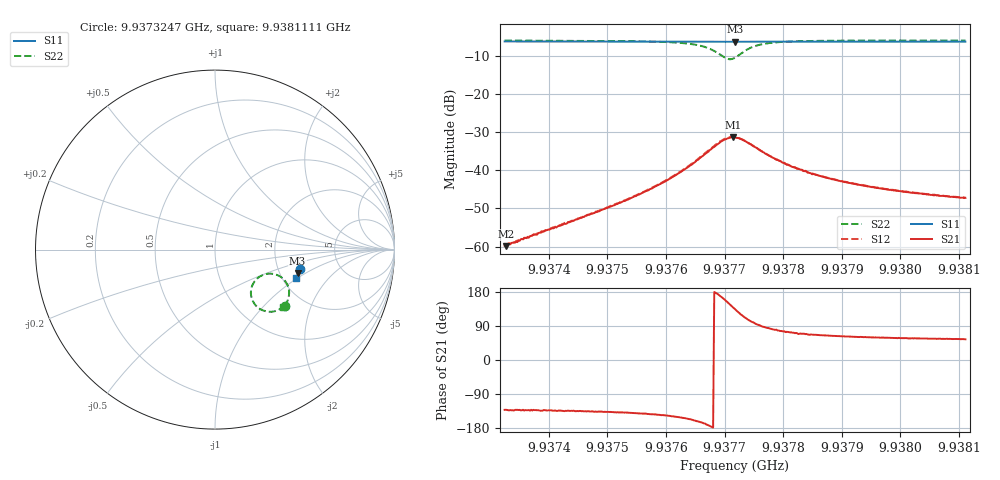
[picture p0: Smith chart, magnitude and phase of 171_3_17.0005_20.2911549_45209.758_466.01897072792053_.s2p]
#  HZ  S  RI  R  50.00
! Rohde & Schwarz Vector Network Analyzer
! Rohde-Schwarz,ZNB20-2Port,1311601062101988,3.16
! Created: UTC 3/20/2024, 10:59:46 PM
! freq[Hz]  re:S11  im:S11  re:S21  im:S21  re:S12  im:S12  re:S22  im:S22
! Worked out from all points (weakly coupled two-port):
!   401 points, 9.9373247 GHz to 9.9381111 GHz, reference 50 ohm
!   highest |S21| = -31.41 dB at 9.937714 GHz (marker M1); lowest = -59.9 dB at 9.9373267 GHz (marker M2)
!   lowest |S11| = -6.4 dB at 9.9377179 GHz (marker M3), VSWR 2.84, Z = 125 - j42.7 ohm
!   |S11| at or under -10 dB: nowhere
!   |S22| runs from -11.0 to -6.0 dB; largest |S21 - S12| = 0.0011
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9.93732472e9  0.4712 -0.1082  -0.000681 -0.000769  -0.000688 -0.00077  0.3872 -0.3124
9.93732669e9  0.4711 -0.1082  -0.000668 -0.00076  -0.000688 -0.000784  0.3871 -0.3125
9.93745644e9  0.4683 -0.1171  -0.00169 -0.00168  -0.00173 -0.00167  0.3719 -0.3252
9.93753311e9  0.4666 -0.1222  -0.00308 -0.0027  -0.00316 -0.00265  0.3557 -0.3348
9.93758816e9  0.4652 -0.1261  -0.00527 -0.00373  -0.00544 -0.00371  0.3341 -0.3431
9.93762944e9  0.4639 -0.1289  -0.00884 -0.00455  -0.0091 -0.00453  0.3025 -0.3465
9.93766679e9  0.4621 -0.1315  -0.0159 -0.00344  -0.0165 -0.00296  0.2453 -0.3273
9.93768056e9  0.4614 -0.132  -0.0197 -0.000542  -0.0203 7.99e-05  0.2177 -0.2991
9.93769432e9  0.4605 -0.1322  -0.0231 0.00539  -0.0233 0.0062  0.2001 -0.2472
9.93770611e9  0.46 -0.1321  -0.0228 0.0127  -0.0229 0.0137  0.2128 -0.1896
9.93771398e9  0.4601 -0.1321  -0.0205 0.0174  -0.0201 0.0184  0.2404 -0.1569
9.93771791e9  0.46 -0.132  -0.0186 0.0192  -0.0181 0.0202  0.2584 -0.1454
9.93772774e9  0.4605 -0.1322  -0.0129 0.0221  -0.0122 0.0226  0.3066 -0.1337
9.9377415e9  0.461 -0.1331  -0.00588 0.0217  -0.00526 0.0219  0.3605 -0.1484
9.93776312e9  0.4615 -0.1348  0.00024 0.0178  0.000615 0.0178  0.4005 -0.19
9.93780244e9  0.4609 -0.1378  0.00305 0.0119  0.00346 0.012  0.4132 -0.2421
9.937828e9  0.4604 -0.1397  0.00364 0.00959  0.00385 0.00968  0.4113 -0.2614
9.93784962e9  0.4598 -0.1414  0.00348 0.00811  0.00368 0.00826  0.4085 -0.2726
9.9379027e9  0.4585 -0.1451  0.00327 0.00625  0.0034 0.00622  0.4012 -0.2908
9.93798134e9  0.4567 -0.1502  0.00287 0.00471  0.00299 0.00472  0.3923 -0.3062
9.93805408e9  0.4548 -0.155  0.00264 0.00394  0.00273 0.00396  0.3855 -0.3153
9.93811109e9  0.4534 -0.1588  0.00251 0.00353  0.00259 0.00352  0.381 -0.3211
